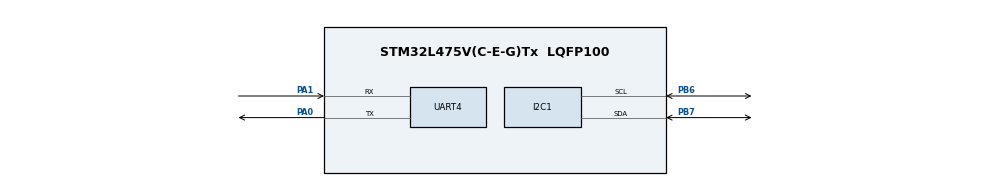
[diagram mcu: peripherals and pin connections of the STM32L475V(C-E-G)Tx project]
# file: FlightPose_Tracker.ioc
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I2C1.Timing=0x00100D14
Mcu.Family=STM32L4
Mcu.Name=STM32L475V(C-E-G)Tx
Mcu.Package=LQFP100
NVIC.PriorityGroup=NVIC_PRIORITYGROUP_4
PA0.Mode=Asynchronous
PA0.Signal=UART4_TX
PA1.Mode=Asynchronous
PA1.Signal=UART4_RX
PB6.Mode=I2C
PB6.Signal=I2C1_SCL
PB7.Mode=I2C
PB7.Signal=I2C1_SDA
PH0-OSC_IN\ (PH0).Mode=HSE-External-Oscillator
PH0-OSC_IN\ (PH0).Signal=RCC_OSC_IN
PH1-OSC_OUT\ (PH1).Mode=HSE-External-Oscillator
PH1-OSC_OUT\ (PH1).Signal=RCC_OSC_OUT
ProjectManager.HeapSize=0x200
ProjectManager.StackSize=0x400
ProjectManager.TargetToolchain=STM32CubeIDE
RCC.HSE_VALUE=8000000
RCC.HSI_VALUE=16000000
RCC.LSE_VALUE=32768
RCC.MSI_VALUE=4000000
RCC.VCOOutputFreq_Value=32000000
board=custom

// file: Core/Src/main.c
/* USER CODE BEGIN Header */
/**
  ******************************************************************************
  * @file           : main.c
  * @brief          : Main program body
  ******************************************************************************
  * @attention
  *
  * Copyright (c) 2025 STMicroelectronics.
  * All rights reserved.
  *
  * This software is licensed under terms that can be found in the LICENSE file
  * in the root directory of this software component.
  * If no LICENSE file comes with this software, it is provided AS-IS.
  *
  ******************************************************************************
  */
/* USER CODE END Header */
#include "main.h"
#include "stm32l475e_iot01_accelero.h"
#include "stm32l475e_iot01_gyro.h"
#include <stdio.h>
#include <math.h>

I2C_HandleTypeDef hi2c1;

UART_HandleTypeDef huart4;

/* USER CODE BEGIN PV */
int __io_putchar(int ch)
{
    HAL_UART_Transmit(&huart4, (uint8_t *)&ch, 1, HAL_MAX_DELAY);
    return ch;
}

/* --- Complementary filter params --- */
#define SAMPLE_HZ   33.0f
#define DT          (1.0f / SAMPLE_HZ)
#define ALPHA       0.98f   // poids gyroscope
float gyro_offset[3] = {0}; // offsets gyroSER CODE END PV */

void SystemClock_Config(void);
static void MX_GPIO_Init(void);
static void MX_UART4_Init(void);
static void MX_I2C1_Init(void);
void Error_Handler(void);

/* USER CODE BEGIN 0 */
void Calibrate_Gyro(void)
{
    float sum[3] = {0};
    float gyro_raw[3];
    const int samples = 500;

    printf("Calibrating Gyroscope... Keep board still.\r\n");

    for (int i = 0; i < samples; i++)
    {
        BSP_GYRO_GetXYZ(gyro_raw);

        sum[0] += gyro_raw[0];
        sum[1] += gyro_raw[1];
        sum[2] += gyro_raw[2];

        HAL_Delay(5);
    }

    gyro_offset[0] = sum[0] / samples;
    gyro_offset[1] = sum[1] / samples;
    gyro_offset[2] = sum[2] / samples;

    printf("Gyro Offsets: %.2f, %.2f, %.2f\r\n",
           gyro_offset[0], gyro_offset[1], gyro_offset[2]);
}
/* USER CODE END 0 */

int main(void)
{

  /* MCU Configuration--------------------------------------------------------*/

  /* Reset of all peripherals, Initializes the Flash interface and the Systick. */
  HAL_Init();

  /* Configure the system clock */
  SystemClock_Config();

  /* Initialize all configured peripherals */
  MX_GPIO_Init();
  MX_UART4_Init();
  MX_I2C1_Init();
  /* USER CODE BEGIN 2 */
  BSP_ACCELERO_Init();
  BSP_GYRO_Init();

    /* ------------ Gyro Calibration ------------- */
    Calibrate_Gyro();

     printf("IMU Fusion Starting (%.0f Hz)\r\n", SAMPLE_HZ);

     /* Variables IMU */
       int16_t accel_raw[3];
       float gyro_dps[3];

       float ax, ay, az;
       float roll, pitch, yaw;

       /* Initial angle estimation */
       BSP_ACCELERO_AccGetXYZ(accel_raw);
       ax = accel_raw[0] * 0.061f / 1000.0f;
       ay = accel_raw[1] * 0.061f / 1000.0f;
       az = accel_raw[2] * 0.061f / 1000.0f;

       roll  = atan2f(ay, az) * 57.2957795f;
       pitch = atan2f(-ax, sqrtf(ay*ay + az*az)) * 57.2957795f;
       yaw   = 0.0f;

      /* Main loop */
      while (1)
      {
    	  /* Read accelerometer */
    	           BSP_ACCELERO_AccGetXYZ(accel_raw);
    	           ax = accel_raw[0] * 0.061f / 1000.0f;
    	           ay = accel_raw[1] * 0.061f / 1000.0f;
    	           az = accel_raw[2] * 0.061f / 1000.0f;

    	           /* Read gyroscope */
    	           BSP_GYRO_GetXYZ(gyro_dps);

    	           /* Apply gyro offset correction and reduce impact */
    	           float gx = (gyro_dps[0] - gyro_offset[0]) * 0.1f;
    	           float gy = (gyro_dps[1] - gyro_offset[1]) * 0.1f;
    	           float gz = (gyro_dps[2] - gyro_offset[2]) * 0.1f;

    	           /* Deadzone filtering */
    	           if (fabs(gx) < 0.1f) gx = 0;
    	           if (fabs(gy) < 0.1f) gy = 0;
    	           if (fabs(gz) < 0.1f) gz = 0;

    	           /* Gyro integration */
    	           float roll_gyro  = roll  + gx * DT;
    	           float pitch_gyro = pitch + gy * DT;
    	           float yaw_gyro   = yaw   + gz * DT;

    	           /* Accelerometer angle */
    	           float roll_acc  = atan2f(ay, az) * 57.2957795f;
    	           float pitch_acc = atan2f(-ax, sqrtf(ay*ay + az*az)) * 57.2957795f;

    	           /* Complementary filter */
    	           roll  = ALPHA * roll_gyro  + (1 - ALPHA) * roll_acc;
    	           pitch = ALPHA * pitch_gyro + (1 - ALPHA) * pitch_acc;
    	           yaw   = yaw_gyro;

    	           /* Send angles to PC */
    	           printf("%.2f,%.2f,%.2f\r\n", roll, pitch, yaw);

    	           HAL_Delay(30); // ~33 Hz
  }
  /* USER CODE END 3 */
}

void SystemClock_Config(void)
{
  RCC_OscInitTypeDef RCC_OscInitStruct = {0};
  RCC_ClkInitTypeDef RCC_ClkInitStruct = {0};

  /** Configure the main internal regulator output voltage
  */
  if (HAL_PWREx_ControlVoltageScaling(PWR_REGULATOR_VOLTAGE_SCALE1) != HAL_OK)
  {
    Error_Handler();
  }

  /** Initializes the RCC Oscillators according to the specified parameters
  * in the RCC_OscInitTypeDef structure.
  */
  RCC_OscInitStruct.OscillatorType = RCC_OSCILLATORTYPE_MSI;
  RCC_OscInitStruct.MSIState = RCC_MSI_ON;
  RCC_OscInitStruct.MSICalibrationValue = 0;
  RCC_OscInitStruct.MSIClockRange = RCC_MSIRANGE_6;
  RCC_OscInitStruct.PLL.PLLState = RCC_PLL_NONE;
  if (HAL_RCC_OscConfig(&RCC_OscInitStruct) != HAL_OK)
  {
    Error_Handler();
  }

  /** Initializes the CPU, AHB and APB buses clocks
  */
  RCC_ClkInitStruct.ClockType = RCC_CLOCKTYPE_HCLK|RCC_CLOCKTYPE_SYSCLK
                              |RCC_CLOCKTYPE_PCLK1|RCC_CLOCKTYPE_PCLK2;
  RCC_ClkInitStruct.SYSCLKSource = RCC_SYSCLKSOURCE_MSI;
  RCC_ClkInitStruct.AHBCLKDivider = RCC_SYSCLK_DIV1;
  RCC_ClkInitStruct.APB1CLKDivider = RCC_HCLK_DIV1;
  RCC_ClkInitStruct.APB2CLKDivider = RCC_HCLK_DIV1;

  if (HAL_RCC_ClockConfig(&RCC_ClkInitStruct, FLASH_LATENCY_0) != HAL_OK)
  {
    Error_Handler();
  }
}

static void MX_I2C1_Init(void)
{

  hi2c1.Instance = I2C1;
  hi2c1.Init.Timing = 0x00100D14;
  hi2c1.Init.OwnAddress1 = 0;
  hi2c1.Init.AddressingMode = I2C_ADDRESSINGMODE_7BIT;
  hi2c1.Init.DualAddressMode = I2C_DUALADDRESS_DISABLE;
  hi2c1.Init.OwnAddress2 = 0;
  hi2c1.Init.OwnAddress2Masks = I2C_OA2_NOMASK;
  hi2c1.Init.GeneralCallMode = I2C_GENERALCALL_DISABLE;
  hi2c1.Init.NoStretchMode = I2C_NOSTRETCH_DISABLE;
  if (HAL_I2C_Init(&hi2c1) != HAL_OK)
  {
    Error_Handler();
  }

  /** Configure Analogue filter
  */
  if (HAL_I2CEx_ConfigAnalogFilter(&hi2c1, I2C_ANALOGFILTER_ENABLE) != HAL_OK)
  {
    Error_Handler();
  }

  /** Configure Digital filter
  */
  if (HAL_I2CEx_ConfigDigitalFilter(&hi2c1, 0) != HAL_OK)
  {
    Error_Handler();
  }

}

static void MX_UART4_Init(void)
{

  huart4.Instance = UART4;
  huart4.Init.BaudRate = 115200;
  huart4.Init.WordLength = UART_WORDLENGTH_8B;
  huart4.Init.StopBits = UART_STOPBITS_1;
  huart4.Init.Parity = UART_PARITY_NONE;
  huart4.Init.Mode = UART_MODE_TX_RX;
  huart4.Init.HwFlowCtl = UART_HWCONTROL_NONE;
  huart4.Init.OverSampling = UART_OVERSAMPLING_16;
  huart4.Init.OneBitSampling = UART_ONE_BIT_SAMPLE_DISABLE;
  huart4.AdvancedInit.AdvFeatureInit = UART_ADVFEATURE_NO_INIT;
  if (HAL_UART_Init(&huart4) != HAL_OK)
  {
    Error_Handler();
  }

}

static void MX_GPIO_Init(void)
{

  /* GPIO Ports Clock Enable */
  __HAL_RCC_GPIOH_CLK_ENABLE();
  __HAL_RCC_GPIOA_CLK_ENABLE();
  __HAL_RCC_GPIOB_CLK_ENABLE();

}

void Error_Handler(void)
{
  __disable_irq();
  while (1)
  {
  }
}
